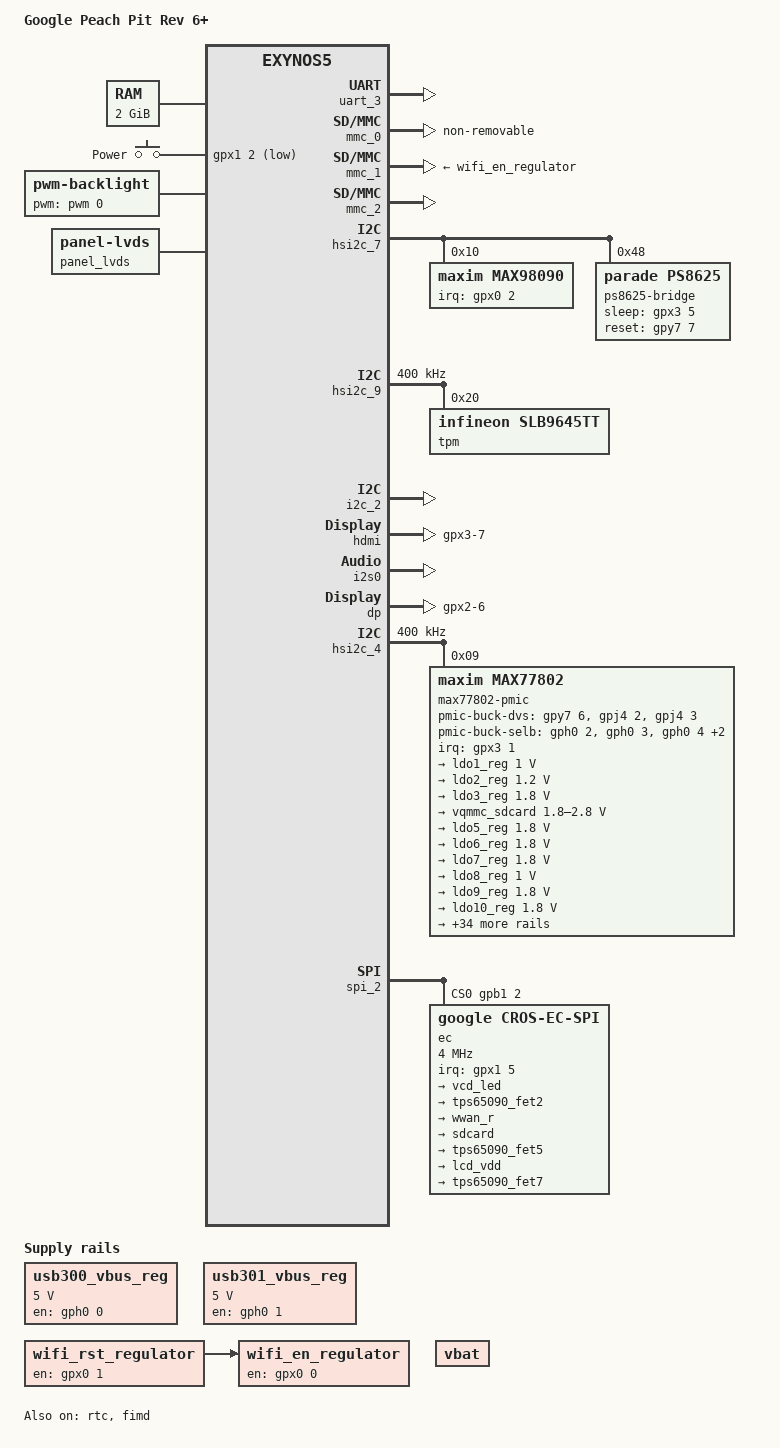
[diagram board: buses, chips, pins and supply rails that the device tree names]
/*
 * Google Peach Pit Rev 6+ board device tree source
 *
 * Copyright (c) 2014 Google, Inc
 *
 * This program is free software; you can redistribute it and/or modify
 * it under the terms of the GNU General Public License version 2 as
 * published by the Free Software Foundation.
 */

/dts-v1/;
#include <dt-bindings/input/input.h>
#include <dt-bindings/gpio/gpio.h>
#include "exynos5420.dtsi"

/ {
	model = "Google Peach Pit Rev 6+";

	compatible = "google,pit-rev16",
		"google,pit-rev15", "google,pit-rev14",
		"google,pit-rev13", "google,pit-rev12",
		"google,pit-rev11", "google,pit-rev10",
		"google,pit-rev9", "google,pit-rev8",
		"google,pit-rev7", "google,pit-rev6",
		"google,pit", "google,peach","samsung,exynos5420",
		"samsung,exynos5";

	memory {
		reg = <0x20000000 0x80000000>;
	};

	fixed-rate-clocks {
		oscclk {
			compatible = "samsung,exynos5420-oscclk";
			clock-frequency = <24000000>;
		};
	};

	gpio-keys {
		compatible = "gpio-keys";

		pinctrl-names = "default";
		pinctrl-0 = <&power_key_irq>;

		power {
			label = "Power";
			gpios = <&gpx1 2 GPIO_ACTIVE_LOW>;
			linux,code = <KEY_POWER>;
			gpio-key,wakeup;
		};
	};

	backlight {
		compatible = "pwm-backlight";
		pwms = <&pwm 0 1000000 0>;
		brightness-levels = <0 100 500 1000 1500 2000 2500 2800>;
		default-brightness-level = <7>;
		pinctrl-0 = <&pwm0_out>;
		pinctrl-names = "default";
	};

	sound {
		compatible = "google,snow-audio-max98090";

		samsung,i2s-controller = <&i2s0>;
		samsung,audio-codec = <&max98090>;
	};

	usb300_vbus_reg: regulator-usb300 {
		compatible = "regulator-fixed";
		regulator-name = "P5.0V_USB3CON0";
		regulator-min-microvolt = <5000000>;
		regulator-max-microvolt = <5000000>;
		gpio = <&gph0 0 0>;
		pinctrl-names = "default";
		pinctrl-0 = <&usb300_vbus_en>;
		enable-active-high;
	};

	usb301_vbus_reg: regulator-usb301 {
		compatible = "regulator-fixed";
		regulator-name = "P5.0V_USB3CON1";
		regulator-min-microvolt = <5000000>;
		regulator-max-microvolt = <5000000>;
		gpio = <&gph0 1 0>;
		pinctrl-names = "default";
		pinctrl-0 = <&usb301_vbus_en>;
		enable-active-high;
	};

	panel_lvds: panel-lvds {
		compatible = "panel-lvds";

		display-timings {
			native-mode = <&timing0>;

			timing0: timing@0 {
				clock-frequency = <70589280>;
				hactive = <1366>;
				vactive = <768>;
				hfront-porch = <40>;
				hback-porch = <40>;
				hsync-len = <32>;
				vback-porch = <10>;
				vfront-porch = <12>;
				vsync-len = <6>;
			};
		};
 	};

	/* Chain regulators to ensure proper Wifi turn on sequence */
	wifi_rst_regulator: wifi-rst-regulator {
		compatible = "regulator-fixed";
		regulator-name = "wifi-rst-l";
		gpio = <&gpx0 1 0>;
		enable-active-high;
		startup-delay-us = <1500>;
		pinctrl-names = "default";
		pinctrl-0 = <&wifi_rst>;

		/*
		 * Technically we should have a vin-supply of the 32k clock.
		 * ...but that causes a deferred probe of this regulator
		 * despite the fact that we don't need to enable it until
		 * much later.  Skip the dependency since we know that the
		 * 32k clock will always be kept on from early boot.
		 *
		 * vin-supply = <&en32khz_cp>;
		 */
	};

	wifi_en_regulator: wifi-en-regulator {
		compatible = "regulator-fixed";
		regulator-name = "wifi-en";
		gpio = <&gpx0 0 0>;
		enable-active-high;
		pinctrl-names = "default";
		pinctrl-0 = <&wifi_en>;
		vin-supply = <&wifi_rst_regulator>;
	};

	vbat: fixed-regulator {
		compatible = "regulator-fixed";
		regulator-name = "vbat-supply";
		regulator-boot-on;
		regulator-always-on;
	};
};

&pinctrl_0 {
	max98090_irq: max98090-irq {
		samsung,pins = "gpx0-2";
		samsung,pin-function = <0>;
		samsung,pin-pud = <0>;
		samsung,pin-drv = <0>;
	};

	tpm_irq: tpm-irq {
		samsung,pins = "gpx1-0";
		samsung,pin-function = <0>;
		samsung,pin-pud = <0>;
		samsung,pin-drv = <0>;
	};

	power_key_irq: power-key-irq {
		samsung,pins = "gpx1-2";
		samsung,pin-function = <0>;
		samsung,pin-pud = <0>;
		samsung,pin-drv = <0>;
	};

	hdmi_hpd_irq: hdmi-hpd-irq {
		samsung,pins = "gpx3-7";
		samsung,pin-function = <0>;
		samsung,pin-pud = <1>;
		samsung,pin-drv = <0>;
	};

	dp_hpd_gpio: dp_hpd_gpio {
		samsung,pins = "gpx2-6";
		samsung,pin-function = <0>;
		samsung,pin-pud = <3>;
		samsung,pin-drv = <0>;
	};

	ps8625_sleep: ps8625-sleep {
		samsung,pins = "gpx3-5";
		samsung,pin-function = <1>;
		samsung,pin-pud = <0>;
		samsung,pin-drv = <0>;
	};

	ps8625_reset: ps8625-reset {
		samsung,pins = "gpy7-7";
		samsung,pin-function = <1>;
		samsung,pin-pud = <0>;
		samsung,pin-drv = <0>;
	};

	max77802_irq: max77802-irq {
		samsung,pins = "gpx3-1";
		samsung,pin-function = <0>;
		samsung,pin-pud = <0>;
		samsung,pin-drv = <0>;
	};

	pmic_dvs_1: pmic-dvs-1 {
		samsung,pins = "gpy7-6";
		samsung,pin-function = <1>;
		samsung,pin-pud = <0>;
		samsung,pin-drv = <0>;
	};

	wifi_en: wifi-en {
		samsung,pins = "gpx0-0";
		samsung,pin-function = <1>;
		samsung,pin-pud = <0>;
		samsung,pin-drv = <0>;
	};

	wifi_rst: wifi-rst {
		samsung,pins = "gpx0-1";
		samsung,pin-function = <1>;
		samsung,pin-pud = <0>;
		samsung,pin-drv = <0>;
	};

	ec_irq: ec-irq {
		samsung,pins = "gpx1-5";
		samsung,pin-function = <0>;
		samsung,pin-pud = <0>;
		samsung,pin-drv = <0>;
	};
	tps65090_irq: tps65090-irq {
		samsung,pins = "gpx2-5";
		samsung,pin-function = <0>;
		samsung,pin-pud = <0>;
		samsung,pin-drv = <0>;
	};
};

&pinctrl_2 {
	pmic_dvs_2: pmic-dvs-2 {
		samsung,pins = "gpj4-2";
		samsung,pin-function = <1>;
		samsung,pin-pud = <0>;
		samsung,pin-drv = <0>;
	};

	pmic_dvs_3: pmic-dvs-3 {
		samsung,pins = "gpj4-3";
		samsung,pin-function = <1>;
		samsung,pin-pud = <0>;
		samsung,pin-drv = <0>;
	};
};

&pinctrl_3 {
	pmic_selb: pmic-selb {
		samsung,pins = "gph0-2", "gph0-3", "gph0-4", "gph0-5",
			       "gph0-6";
		samsung,pin-function = <1>;
		samsung,pin-pud = <0>;
		samsung,pin-drv = <0>;
	};
};

&pinctrl_3 {
	usb300_vbus_en: usb300-vbus-en {
		samsung,pins = "gph0-0";
		samsung,pin-function = <1>;
		samsung,pin-pud = <0>;
		samsung,pin-drv = <0>;
	};

	usb301_vbus_en: usb301-vbus-en {
		samsung,pins = "gph0-1";
		samsung,pin-function = <1>;
		samsung,pin-pud = <0>;
		samsung,pin-drv = <0>;
	};

	ec_spi_cs: ec-spi-cs {
		samsung,pins = "gpb1-2";
		samsung,pin-function = <1>;
		samsung,pin-pud = <0>;
		samsung,pin-drv = <3>;
	};
};

&rtc {
	status = "okay";
};

&uart_3 {
	status = "okay";
};

&mmc_0 {
	status = "okay";
	num-slots = <1>;
	broken-cd;
	caps2-mmc-hs200-1_8v;
	supports-highspeed;
	non-removable;
	card-detect-delay = <200>;
	clock-frequency = <400000000>;
	samsung,dw-mshc-ciu-div = <3>;
	samsung,dw-mshc-sdr-timing = <0 4>;
	samsung,dw-mshc-ddr-timing = <0 2>;
	pinctrl-names = "default";
	pinctrl-0 = <&sd0_clk &sd0_cmd &sd0_bus4 &sd0_bus8>;

	slot@0 {
		reg = <0>;
		bus-width = <8>;
	};
};

&mmc_1 {
	/*
	 * The current best way to ensure that reset/enable and clocks
	 * are available before we try to probe the WiFi card is through
	 * a chain of regulators.
	 */
	vmmc-supply = <&wifi_en_regulator>;

	status = "okay";
	num-slots = <1>;
	supports-highspeed;
	keep-power-in-suspend;
	/* non-removable NOT set so mwifiex driver can use reset trick */
	edge-triggered-interrupts;
	broken-cd;
	bypass-smu;
	fifo-depth = <0x40>;
	card-detect-delay = <200>;
	clock-frequency = <400000000>;
	samsung,dw-mshc-ciu-div = <1>;
	samsung,dw-mshc-sdr-timing = <0 1>;
	samsung,dw-mshc-ddr-timing = <0 2>;
	pinctrl-names = "default";
	pinctrl-0 = <&sd1_clk &sd1_cmd &sd1_int &sd1_bus1 &sd1_bus4 &sd1_bus8>;
	slot@0 {
		reg = <0>;
		bus-width = <4>;
	};
};

&mmc_2 {
	status = "okay";
	num-slots = <1>;
	supports-highspeed;
	card-detect-delay = <200>;
	clock-frequency = <400000000>;
	samsung,dw-mshc-ciu-div = <3>;
	samsung,dw-mshc-sdr-timing = <2 3>;
	samsung,dw-mshc-ddr-timing = <1 2>;
	pinctrl-names = "default";
	pinctrl-0 = <&sd2_clk &sd2_cmd &sd2_cd &sd2_bus4>;

	slot@0 {
		reg = <0>;
		bus-width = <4>;
	};
};

&hsi2c_7 {
	status = "okay";

	max98090: codec@10 {
		compatible = "maxim,max98090";
		reg = <0x10>;
		interrupts = <2 0>;
		interrupt-parent = <&gpx0>;
		pinctrl-names = "default";
		pinctrl-0 = <&max98090_irq>;
	};
};

&hsi2c_9 {
	status = "okay";
	clock-frequency = <400000>;

	tpm@20 {
		compatible = "infineon,slb9645tt";
		reg = <0x20>;

		/* Unused irq; but still need to configure the pins */
		pinctrl-names = "default";
		pinctrl-0 = <&tpm_irq>;
	};
};

&i2c_2	{
	status = "okay";
	samsung,i2c-sda-delay = <100>;
	samsung,i2c-max-bus-freq = <66000>;
	samsung,i2c-slave-addr = <0x50>;
};

&hdmi {
	status = "okay";
	hpd-gpio = <&gpx3 7 GPIO_ACTIVE_HIGH>;
	pinctrl-names = "default";
	pinctrl-0 = <&hdmi_hpd_irq>;
	ddc = <&i2c_2>;
};

&usbdrd_phy0 {
	vbus-supply = <&usb300_vbus_reg>;
};

&usbdrd_phy1 {
	vbus-supply = <&usb301_vbus_reg>;
};

/*
 * Use longest HW watchdog in SoC (32 seconds) since the hardware
 * watchdog provides no debugging information (compared to soft/hard
 * lockup detectors) and so should be last resort.
 */
&watchdog {
	timeout-sec = <32>;
};

&i2s0 {
	status = "okay";
};

&fimd {
	status = "okay";
	samsung,invert-vclk;
};

&dp {
	status = "okay";
	pinctrl-names = "default";
	pinctrl-0 = <&dp_hpd_gpio>;
	samsung,color-space = <0>;
	samsung,dynamic-range = <0>;
	samsung,ycbcr-coeff = <0>;
	samsung,color-depth = <1>;
	samsung,link-rate = <0x06>;
	samsung,lane-count = <2>;
	samsung,hpd-gpio = <&gpx2 6 0>;
	edp-panel = <&panel_lvds>;

	display-timings {
		native-mode = <&timing1>;

		timing1: timing@1 {
			clock-frequency = <70589280>;
			hactive = <1366>;
			vactive = <768>;
			hfront-porch = <40>;
			hback-porch = <40>;
			hsync-len = <32>;
			vback-porch = <10>;
			vfront-porch = <12>;
			vsync-len = <6>;
		};
	};
};

&hsi2c_4 {
	status = "okay";
	clock-frequency = <400000>;

	max77802-pmic@9 {
		compatible = "maxim,max77802";
		interrupt-parent = <&gpx3>;
		interrupts = <1 0>;
		pinctrl-names = "default";
		pinctrl-0 = <&max77802_irq>, <&pmic_selb>,
			    <&pmic_dvs_1>, <&pmic_dvs_2>, <&pmic_dvs_3>;
		wakeup-source;
		reg = <0x9>;

		/* Using idx 1 means warm reset will get good voltage */
		max77xxx,pmic-buck-default-dvs-idx = <1>;
		max77xxx,pmic-buck-dvs-gpios = <&gpy7 6 0>,
					       <&gpj4 2 0>,
					       <&gpj4 3 0>;
		max77xxx,pmic-buck-selb-gpios = <&gph0 2 0>,
						<&gph0 3 0>,
						<&gph0 4 0>,
						<&gph0 5 0>,
						<&gph0 6 0>;

		voltage-regulators {
			ldo1_reg: LDO1 {
				regulator-name = "vdd_1v0";
				regulator-min-microvolt = <1000000>;
				regulator-max-microvolt = <1000000>;
				regulator-always-on;
				regulator-op-mode = <2>;
			};

			ldo2_reg: LDO2 {
				regulator-name = "vdd_1v2_2";
				regulator-min-microvolt = <1200000>;
				regulator-max-microvolt = <1200000>;
			};

			ldo3_reg: LDO3 {
				regulator-name = "vdd_1v8_3";
				regulator-min-microvolt = <1800000>;
				regulator-max-microvolt = <1800000>;
				regulator-always-on;
				regulator-op-mode = <2>;
			};

			vqmmc_sdcard: ldo4_reg: LDO4 {
				regulator-name = "vdd_sd";
				regulator-min-microvolt = <1800000>;
				regulator-max-microvolt = <2800000>;
				regulator-always-on;
				regulator-op-mode = <1>;
			};

			ldo5_reg: LDO5 {
				regulator-name = "vdd_1v8_5";
				regulator-min-microvolt = <1800000>;
				regulator-max-microvolt = <1800000>;
				regulator-always-on;
				regulator-op-mode = <1>;
			};

			ldo6_reg: LDO6 {
				regulator-name = "vdd_1v8_6";
				regulator-min-microvolt = <1800000>;
				regulator-max-microvolt = <1800000>;
				regulator-always-on;
				regulator-op-mode = <1>;
			};

			ldo7_reg: LDO7 {
				regulator-name = "vdd_1v8_7";
				regulator-min-microvolt = <1800000>;
				regulator-max-microvolt = <1800000>;
			};

			ldo8_reg: LDO8 {
				regulator-name = "vdd_ldo8";
				regulator-min-microvolt = <1000000>;
				regulator-max-microvolt = <1000000>;
				regulator-always-on;
				regulator-op-mode = <1>;
			};

			ldo9_reg: LDO9 {
				regulator-name = "vdd_ldo9";
				regulator-min-microvolt = <1800000>;
				regulator-max-microvolt = <1800000>;
				regulator-always-on;
				regulator-op-mode = <2>;
			};

			ldo10_reg: LDO10 {
				regulator-name = "vdd_ldo10";
				regulator-min-microvolt = <1800000>;
				regulator-max-microvolt = <1800000>;
				regulator-always-on;
				regulator-op-mode = <1>;
			};

			ldo11_reg: LDO11 {
				regulator-name = "vdd_ldo11";
				regulator-min-microvolt = <1800000>;
				regulator-max-microvolt = <1800000>;
				regulator-always-on;
				regulator-op-mode = <2>;
			};

			ldo12_reg: LDO12 {
				regulator-name = "vdd_ldo12";
				regulator-min-microvolt = <3000000>;
				regulator-max-microvolt = <3000000>;
				regulator-always-on;
				regulator-op-mode = <1>;
			};

			ldo13_reg: LDO13 {
				regulator-name = "vdd_ldo13";
				regulator-min-microvolt = <1800000>;
				regulator-max-microvolt = <1800000>;
				regulator-always-on;
				regulator-op-mode = <2>;
			};

			ldo14_reg: LDO14 {
				regulator-name = "vdd_ldo14";
				regulator-min-microvolt = <1800000>;
				regulator-max-microvolt = <1800000>;
				regulator-always-on;
				regulator-op-mode = <1>;
			};

			ldo15_reg: LDO15 {
				regulator-name = "vdd_ldo15";
				regulator-min-microvolt = <1000000>;
				regulator-max-microvolt = <1000000>;
				regulator-always-on;
				regulator-op-mode = <1>;
			};

			ldo17_reg: LDO17 {
				regulator-name = "vdd_g3ds";
				regulator-min-microvolt = <900000>;
				regulator-max-microvolt = <1400000>;
				regulator-always-on;
				regulator-op-mode = <1>;
			};

			ldo18_reg: LDO18 {
				regulator-name = "ldo_18";
				regulator-min-microvolt = <1800000>;
				regulator-max-microvolt = <1800000>;
			};

			ldo19_reg: LDO19 {
				regulator-name = "ldo_19";
				regulator-min-microvolt = <1800000>;
				regulator-max-microvolt = <1800000>;
			};

			ldo20_reg: LDO20 {
				regulator-name = "ldo_20";
				regulator-min-microvolt = <1800000>;
				regulator-max-microvolt = <1800000>;
				regulator-always-on;
				regulator-op-mode = <0>;
			};

			ldo21_reg: LDO21 {
				regulator-name = "ldo_21";
				regulator-min-microvolt = <2800000>;
				regulator-max-microvolt = <2800000>;
			};

			ldo23_reg: LDO23 {
				regulator-name = "ld0_23";
				regulator-min-microvolt = <3300000>;
				regulator-max-microvolt = <3300000>;
			};

			ldo24_reg: LDO24 {
				regulator-name = "ldo_24";
				regulator-min-microvolt = <2800000>;
				regulator-max-microvolt = <2800000>;
			};

			ldo25_reg: LDO25 {
				regulator-name = "ldo_25";
				regulator-min-microvolt = <3300000>;
				regulator-max-microvolt = <3300000>;
			};

			ldo26_reg: LDO26 {
				regulator-name = "ldo_26";
				regulator-min-microvolt = <1200000>;
				regulator-max-microvolt = <1200000>;
			};

			ldo27_reg: LDO27 {
				regulator-name = "ldo_27";
				regulator-min-microvolt = <1200000>;
				regulator-max-microvolt = <1200000>;
			};

			ldo28_reg: LDO28 {
				regulator-name = "ldo_28";
				regulator-min-microvolt = <1800000>;
				regulator-max-microvolt = <1800000>;
			};

			ldo29_reg: LDO29 {
				regulator-name = "ldo_29";
				regulator-min-microvolt = <1800000>;
				regulator-max-microvolt = <1800000>;
			};

			ldo30_reg: LDO30 {
				regulator-name = "vdd_mifs";
				regulator-min-microvolt = <900000>;
				regulator-max-microvolt = <1300000>;
				regulator-op-mode = <1>;
				regulator-always-on;
			};

			ldo32_reg: LDO32 {
				regulator-name = "ldo_32";
				regulator-min-microvolt = <3000000>;
				regulator-max-microvolt = <3000000>;
			};

			ldo33_reg: LDO33 {
				regulator-name = "ldo_33";
				regulator-min-microvolt = <2800000>;
				regulator-max-microvolt = <2800000>;
			};

			ldo34_reg: LDO34 {
				regulator-name = "ldo_34";
				regulator-min-microvolt = <3000000>;
				regulator-max-microvolt = <3000000>;
			};

			ldo35_reg: LDO35 {
				regulator-name = "ldo_35";
				regulator-min-microvolt = <1200000>;
				regulator-max-microvolt = <1200000>;
			};

			buck1_reg: BUCK1 {
				regulator-name = "vdd_mif";
				regulator-min-microvolt = <800000>;
				regulator-max-microvolt = <1300000>;
				regulator-always-on;
				regulator-boot-on;
				regulator-op-mode = <1>;
				regulator-ramp-delay = <12500>;
			};

			buck2_reg: BUCK2 {
				regulator-name = "vdd_arm";
				regulator-min-microvolt = <800000>;
				regulator-max-microvolt = <1500000>;
				regulator-always-on;
				regulator-boot-on;
				regulator-op-mode = <1>;
				regulator-ramp-delay = <12500>;
			};

			buck3_reg: BUCK3 {
				regulator-name = "vdd_int";
				regulator-min-microvolt = <800000>;
				regulator-max-microvolt = <1400000>;
				regulator-always-on;
				regulator-boot-on;
				regulator-op-mode = <1>;
				regulator-ramp-delay = <12500>;
			};

			buck4_reg: BUCK4 {
				regulator-name = "vdd_g3d";
				regulator-min-microvolt = <700000>;
				regulator-max-microvolt = <1400000>;
				regulator-always-on;
				regulator-boot-on;
				regulator-op-mode = <1>;
				regulator-ramp-delay = <12500>;
			};

			buck5_reg: BUCK5 {
				regulator-name = "vdd_1v2";
				regulator-min-microvolt = <1200000>;
				regulator-max-microvolt = <1200000>;
				regulator-always-on;
				regulator-boot-on;
				regulator-op-mode = <1>;
			};

			buck6_reg: BUCK6 {
				regulator-name = "vdd_kfc";
				regulator-min-microvolt = <800000>;
				regulator-max-microvolt = <1500000>;
				regulator-always-on;
				regulator-boot-on;
				regulator-op-mode = <1>;
				regulator-ramp-delay = <12500>;
			};

			buck7_reg: BUCK7 {
				regulator-name = "vdd_1v35";
				regulator-min-microvolt = <1350000>;
				regulator-max-microvolt = <1350000>;
				regulator-always-on;
				regulator-boot-on;
				regulator-op-mode = <3>;
			};

			buck8_reg: BUCK8 {
				regulator-name = "vdd_emmc";
				regulator-min-microvolt = <2850000>;
				regulator-max-microvolt = <2850000>;
				regulator-always-on;
				regulator-boot-on;
				regulator-op-mode = <1>;
			};

			buck9_reg: BUCK9 {
				regulator-name = "vdd_2v";
				regulator-min-microvolt = <2000000>;
				regulator-max-microvolt = <2000000>;
				regulator-always-on;
				regulator-boot-on;
				regulator-op-mode = <3>;
			};

			buck10_reg: BUCK10 {
				regulator-name = "vdd_1v8";
				regulator-min-microvolt = <1800000>;
				regulator-max-microvolt = <1800000>;
				regulator-always-on;
				regulator-boot-on;
				regulator-op-mode = <3>;
			};

			en32khz_ap: EN32KHZ_AP {
				regulator-name = "en32khz_ap";
				regulator-always-on;
			};

			en32khz_cp: EN32KHZ_CP {
				regulator-name = "en32khz_cp";
				regulator-always-on;
			};
		};

		maxim_rtc: rtc {
		};
	};
};

&hsi2c_7 {
	status = "okay";

	ps8625-bridge@48 {
		compatible = "parade,ps8625";
		reg = <0x48>;
		sleep-gpio = <&gpx3 5 0>;
		reset-gpio = <&gpy7 7 0>;
		lane-count = <2>;
		pinctrl-names = "default";
		pinctrl-0 = <&ps8625_sleep &ps8625_reset>;

		display-timings {
			native-mode = <&timing1>;
		};
	};
};

&spi_2 {
	status = "okay";
	samsung,spi-src-clk = <0>;
	num-cs = <1>;
	cs-gpios = <&gpb1 2 0>;

	ec: cros-ec@0 {
		compatible = "google,cros-ec-spi";

		spi-max-frequency = <4000000>;

		pinctrl-names = "default";
		pinctrl-0 = <&ec_spi_cs &ec_irq>;

		reg = <0>;
		interrupts = <5 0>;
		interrupt-parent = <&gpx1>;

			google,cros-ec-spi-msg-delay = <2000>;
		controller-data {
			samsung,spi-feedback-delay = <2>;
		};

		/* Arbitrarily assign bus 20 since past exynos range */
		i2c_20: i2c-tunnel {
			compatible = "google,cros-ec-i2c-tunnel";
			#address-cells = <1>;
			#size-cells = <0>;

			google,remote-bus = <0>;
			power-regulator@48 {
				compatible = "ti,tps65090";
				reg = <0x48>;

				/*
				 * Config irq to disable internal pulls
				 * even though we run in polling mode.
				 */
				pinctrl-names = "default";
				pinctrl-0 = <&tps65090_irq>;

				vsys1-supply = <&vbat>;
				vsys2-supply = <&vbat>;
				vsys3-supply = <&vbat>;
				infet1-supply = <&vbat>;
				infet2-supply = <&vbat>;
				infet3-supply = <&vbat>;
				infet4-supply = <&vbat>;
				infet5-supply = <&vbat>;
				infet6-supply = <&vbat>;
				infet7-supply = <&vbat>;
				vsys-l1-supply = <&vbat>;
				vsys-l2-supply = <&vbat>;

				regulators {
					dcdc1 {
						ti,enable-ext-control;
					};
					dcdc2 {
						ti,enable-ext-control;
					};
					dcdc3 {
						ti,enable-ext-control;
					};
					fet1 {
						regulator-name = "vcd_led";
					};
					tps65090_fet2: fet2 {
						regulator-name = "video_mid";
						regulator-always-on;
					};
					fet3 {
						regulator-name = "wwan_r";
						regulator-always-on;
					};
					fet4 {
						regulator-name = "sdcard";
						regulator-always-on;
					};
					tps65090_fet5: fet5 {
						regulator-name = "camout";
					};
					fet6 {
						regulator-name = "lcd_vdd";
					};
					tps65090_fet7: fet7 {
						regulator-name = "video_mid_1a";
						regulator-always-on;
					};
					ldo1 {
					};
					ldo2 {
					};
				};

				charger {
					compatible = "ti,tps65090-charger";
				};
			};

			battery: sbs-battery@b {
				compatible = "sbs,sbs-battery";
				reg = <0xb>;
				sbs,poll-retry-count = <1>;
				sbs,i2c-retry-count = <2>;
			};
		};

		cros-ec-keyb {
			compatible = "google,cros-ec-keyb";
			keypad,num-rows = <8>;
			keypad,num-columns = <13>;
			google,needs-ghost-filter;

			/*
			 * Keymap entries take the form of 0xRRCCKKKK where
			 * RR=Row CC=Column KKKK=Key Code
			 * The values below are for a US keyboard layout and
			 * are taken from the Linux driver. Note that the
			 * 102ND key is not used for US keyboards.
			 */
			linux,keymap = <0x0001007d	/* L_META */
					0x0002003b	/* F1 */
					0x00030030	/* B */
					0x00040044	/* F10 */
					0x00060031	/* N */
					0x0008000d	/* = */
					0x000a0064	/* R_ALT */

					0x01010001	/* ESC */
					0x0102003e	/* F4 */
					0x01030022	/* G */
					0x01040041	/* F7 */
					0x01060023	/* H */
					0x01080028	/* ' */
					0x01090043	/* F9 */
					0x010b000e	/* BKSPACE */

					0x0200001d	/* L_CTRL */
					0x0201000f	/* TAB */
					0x0202003d	/* F3 */
					0x02030014	/* T */
					0x02040040	/* F6 */
					0x0205001b	/* ] */
					0x02060015	/* Y */
					0x02070056	/* 102ND */
					0x0208001a	/* [ */
					0x02090042	/* F8 */

					0x03010029	/* GRAVE */
					0x0302003c	/* F2 */
					0x03030006	/* 5 */
					0x0304003f	/* F5 */
					0x03060007	/* 6 */
					0x0308000c	/* - */
					0x030b002b	/* \ */

					0x04000061	/* R_CTRL */
					0x0401001e	/* A */
					0x04020020	/* D */
					0x04030021	/* F */
					0x0404001f	/* S */
					0x04050025	/* K */
					0x04060024	/* J */
					0x04080027	/* ; */
					0x04090026	/* L */
					0x040a002b	/* \ */
					0x040b001c	/* ENTER */

					0x0501002c	/* Z */
					0x0502002e	/* C */
					0x0503002f	/* V */
					0x0504002d	/* X */
					0x05050033	/* , */
					0x05060032	/* M */
					0x0507002a	/* L_SHIFT */
					0x05080035	/* / */
					0x05090034	/* . */
					0x050B0039	/* SPACE */

					0x06010002	/* 1 */
					0x06020004	/* 3 */
					0x06030005	/* 4 */
					0x06040003	/* 2 */
					0x06050009	/* 8 */
					0x06060008	/* 7 */
					0x0608000b	/* 0 */
					0x0609000a	/* 9 */
					0x060a0038	/* L_ALT */
					0x060b006c	/* DOWN */
					0x060c006a	/* RIGHT */

					0x070000ec	/* BATTERY key on some HW */
					0x07010010	/* Q */
					0x07020012	/* E */
					0x07030013	/* R */
					0x07040011	/* W */
					0x07050017	/* I */
					0x07060016	/* U */
					0x07070036	/* R_SHIFT */
					0x07080019	/* P */
					0x07090018	/* O */
					0x070b0067	/* UP */
					0x070c0069>;	/* LEFT */
		};
	};
};
